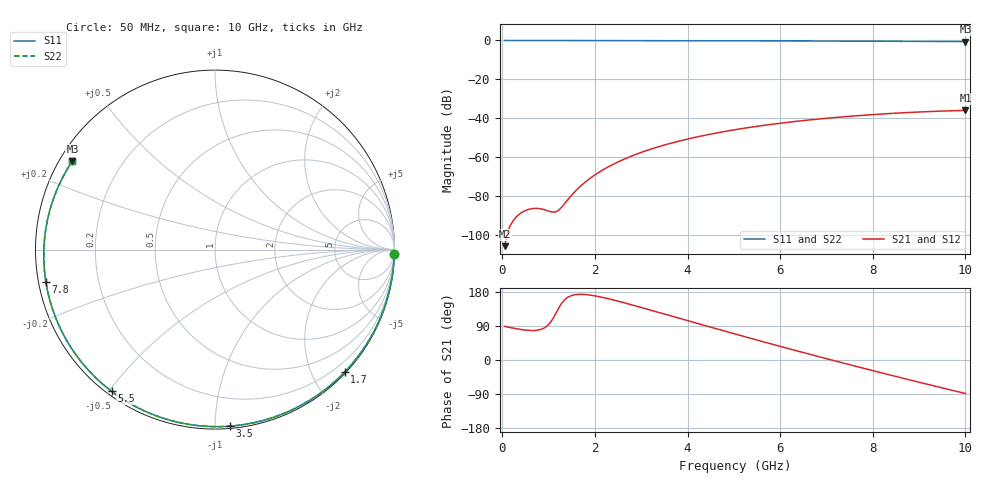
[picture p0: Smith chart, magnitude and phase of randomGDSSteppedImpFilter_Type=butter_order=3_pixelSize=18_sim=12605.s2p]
! freq	dB(S11)	phase(S11)	dB(S12)	phase(S12)
!  dB(S21)	phase(S21)	dB(S22)	phase(S22)
!S-par simulation data
#  GHz  S  DB  R 50
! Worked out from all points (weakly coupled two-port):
!   200 points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, 50 MHz to 10 GHz, reference 50 ohm
!   highest |S21| = -36.03 dB at 10 GHz (marker M1); lowest = -106.0 dB at 50 MHz (marker M2)
!   lowest |S11| = -0.6 dB at 10 GHz (marker M3), VSWR 29.96, Z = 1.8 + j14.3 ohm
!   |S11| at or under -10 dB: nowhere
!   |S22| runs from -0.6 to 0.0 dB; largest |S21 - S12| = 0
!   S11 on the Smith chart (normalised r, x): 50 MHz: 1, -90; 1.7 GHz: 0.02, -2.52; 3.5 GHz: 0.01, -1.09; 5.5 GHz: 0.01, -0.51; 7.8 GHz: 0.02, -0.09; 10 GHz: 0.04, +0.29
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0.05  -0.00 -1.3  -106.00 88.7  -106.00 88.7  -0.00 -1.3
0.4  -0.02 -10.4  -88.96 80.5  -88.96 80.5  -0.02 -10.4
0.75  -0.03 -19.4  -86.53 78.5  -86.53 78.5  -0.03 -19.4
1.45  -0.05 -37.1  -81.01 167.8  -81.01 167.8  -0.05 -37.1
1.5  -0.05 -38.4  -79.63 170.2  -79.63 170.2  -0.05 -38.4
1.7  -0.06 -43.3  -74.82 173.3  -74.82 173.3  -0.06 -43.3
1.75  -0.06 -44.6  -73.78 173.1  -73.78 173.1  -0.06 -44.5
2.05  -0.07 -51.8  -68.49 168.1  -68.49 168.1  -0.07 -51.8
2.45  -0.08 -61.4  -63.15 156.9  -63.15 156.9  -0.08 -61.3
2.9  -0.09 -71.8  -58.57 142.0  -58.57 142.0  -0.09 -71.8
3.4  -0.11 -83.0  -54.58 124.8  -54.58 124.8  -0.11 -82.9
3.5  -0.11 -85.1  -53.89 121.3  -53.89 121.3  -0.11 -85.1
4.25  -0.14 -101.1  -49.47 95.3  -49.47 95.3  -0.14 -101.1
5.05  -0.17 -117.3  -45.88 67.8  -45.88 67.8  -0.17 -117.3
5.5  -0.20 -126.1  -44.24 52.6  -44.24 52.6  -0.20 -126.1
6.1  -0.23 -137.6  -42.37 32.7  -42.37 32.7  -0.23 -137.6
6.7  -0.27 -148.8  -40.80 13.1  -40.80 13.1  -0.27 -148.8
7.25  -0.32 -159.1  -39.58 -4.5  -39.58 -4.5  -0.32 -159.0
7.8  -0.36 -169.3  -38.54 -21.8  -38.54 -21.8  -0.36 -169.3
8.35  -0.41 -179.6  -37.68 -38.9  -37.68 -38.9  -0.41 -179.6
9.2  -0.50 164.1  -36.66 -64.7  -36.66 -64.7  -0.50 164.1
10  -0.58 148.1  -36.03 -88.3  -36.03 -88.3  -0.58 148.2
